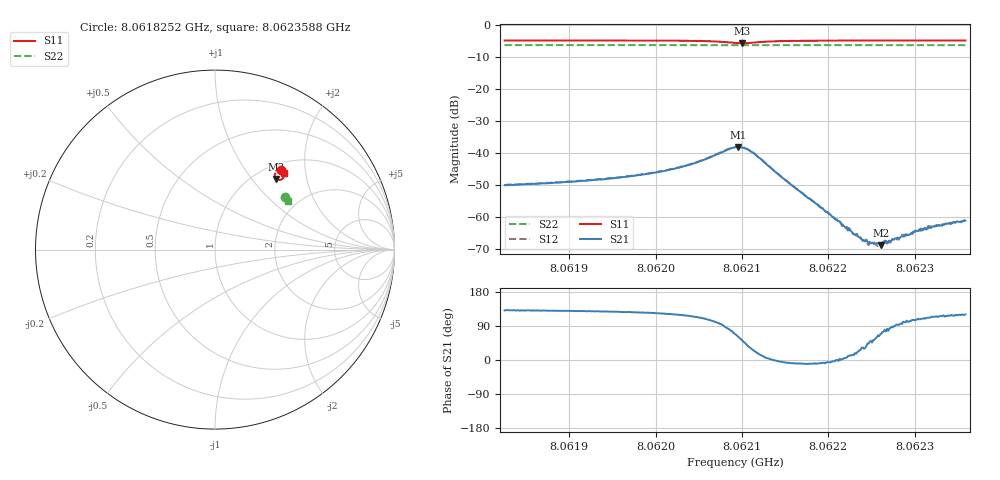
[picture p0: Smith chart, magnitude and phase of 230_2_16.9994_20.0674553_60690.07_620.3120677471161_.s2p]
#  HZ  S  RI  R  50.00
! Rohde & Schwarz Vector Network Analyzer
! Rohde-Schwarz,ZNB20-2Port,1311601062101988,3.16
! Created: UTC 3/20/2024, 11:02:20 PM
! freq[Hz]  re:S11  im:S11  re:S21  im:S21  re:S12  im:S12  re:S22  im:S22
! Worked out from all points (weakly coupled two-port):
!   401 points, 8.0618252 GHz to 8.0623588 GHz, reference 50 ohm
!   highest |S21| = -38.06 dB at 8.062096 GHz (marker M1); lowest = -68.7 dB at 8.0622614 GHz (marker M2)
!   lowest |S11| = -5.7 dB at 8.0621 GHz (marker M3), VSWR 3.18, Z = 62 + j67 ohm
!   |S11| at or under -10 dB: nowhere
!   |S22| runs from -6.3 to -6.2 dB; largest |S21 - S12| = 0.001
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8.06182523e9  0.3653 0.4451  -0.00207 0.0024  -0.00193 0.00252  0.3873 0.2957
8.0619146e9  0.3721 0.4391  -0.00233 0.00288  -0.0022 0.00302  0.3905 0.2913
8.06196129e9  0.376 0.4348  -0.00253 0.00341  -0.00237 0.00356  0.3921 0.2889
8.06200397e9  0.3801 0.4289  -0.00281 0.0043  -0.00254 0.00451  0.3936 0.2864
8.06204399e9  0.384 0.4182  -0.00288 0.0063  -0.00253 0.00657  0.3949 0.2841
8.06209201e9  0.3573 0.3881  0.00453 0.0116  0.00507 0.0113  0.3948 0.2811
8.06209601e9  0.3496 0.3897  0.00612 0.0109  0.00683 0.0106  0.3946 0.281
8.06210001e9  0.3424 0.3936  0.0074 0.00977  0.00831 0.00927  0.3946 0.2811
8.06211468e9  0.3331 0.4185  0.00896 0.00384  0.0093 0.00335  0.3949 0.2817
8.06214403e9  0.3524 0.4387  0.00444 -0.000322  0.00446 -0.0006  0.397 0.281
8.06218138e9  0.3663 0.4386  0.00176 -0.000303  0.0018 -0.000411  0.3988 0.279
8.06221205e9  0.3723 0.4364  0.000876 -3.42e-05  0.000852 -3.65e-05  0.3999 0.2773
8.06222006e9  0.3734 0.4359  0.00068 6.68e-05  0.000702 -1.98e-05  0.4004 0.2769
8.06224007e9  0.3762 0.4344  0.000358 0.000232  0.000413 0.000165  0.401 0.2759
8.06224407e9  0.3766 0.4342  0.000363 0.000266  0.000343 0.000229  0.401 0.2756
8.06225741e9  0.378 0.4332  0.000166 0.000356  0.000183 0.000304  0.4015 0.2749
8.06226141e9  0.3784 0.433  0.000128 0.000344  0.000186 0.000353  0.4016 0.2748
8.06227075e9  0.3794 0.4324  5.3e-05 0.000441  8.32e-05 0.000404  0.4019 0.2742
8.06228675e9  0.3809 0.4313  -9.53e-05 0.000493  -8.95e-05 0.000525  0.4025 0.2735
8.06230409e9  0.3824 0.4303  -0.000198 0.000577  -0.000179 0.000609  0.4031 0.2727
8.0623161e9  0.3834 0.4296  -0.000248 0.000629  -0.00024 0.000697  0.4035 0.272
8.06235878e9  0.3866 0.4269  -0.000444 0.000772  -0.000389 0.00079  0.4049 0.2698
